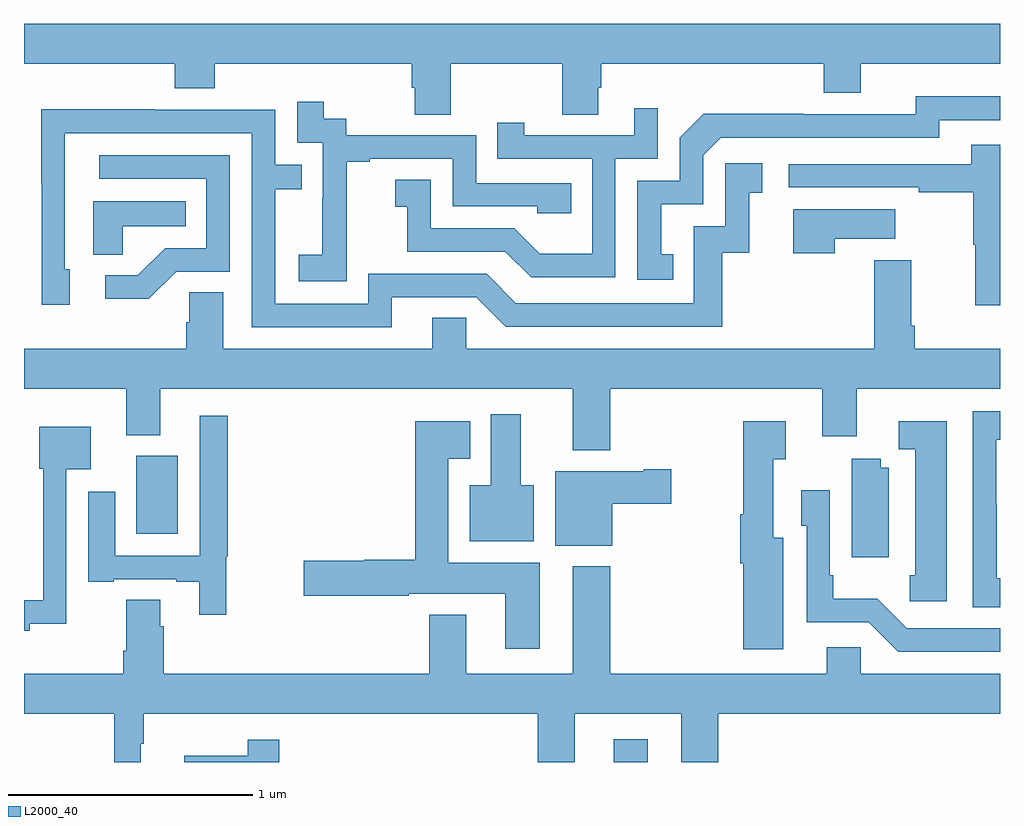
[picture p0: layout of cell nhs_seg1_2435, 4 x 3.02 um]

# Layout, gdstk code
import gdstk
lib = gdstk.Library(unit=1e-6, precision=1e-09)
def R(c, l, rs):  # rectangles x0, y0, x1, y1
    for r in rs: c.add(gdstk.rectangle(r[:2], r[2:], *l))
def P(c, l, *ps):  # polygons
    for p in ps: c.add(gdstk.Polygon(p, *l))
L2000_40 = (2000, 40)

nhs_seg1_2435 = lib.new_cell('nhs_seg1_2435')
R(nhs_seg1_2435, L2000_40, [(245.417,554.199,245.557,554.293), (243.461,555.134,243.631,555.454)])
P(nhs_seg1_2435, L2000_40, [(244.749,557.06),(245.206,557.06),(245.206,556.852),(245.353,556.852),(245.353,556.962),(245.366,556.962),(245.366,557.06),(246.278,557.06),(246.278,556.943),(246.43,556.943),(246.43,557.06),(247,557.06),(247,557.224),(243,557.224),(243,557.06),(243.617,557.06),(243.617,556.961),(243.782,556.961),(243.782,557.06),(244.589,557.06),(244.589,556.962),(244.601,556.962),(244.601,556.852),(244.749,556.852)],
  [(245.66,556.281),(245.611,556.281),(245.611,556.485),(245.784,556.485),(245.784,556.686),(245.856,556.758),(246.75,556.758),(246.75,556.83),(247,556.83),(247,556.927),(246.654,556.927),(246.654,556.854),(246.194,556.854),(246.194,556.856),(245.786,556.856),(245.688,556.758),(245.688,556.581),(245.514,556.581),(245.514,556.176),(245.66,556.176)],
  [(244.323,556.375),(244.322,556.375),(244.322,556.659),(244.417,556.659),(244.417,556.671),(244.758,556.671),(244.758,556.476),(245.103,556.476),(245.103,556.449),(245.243,556.449),(245.243,556.572),(244.854,556.572),(244.854,556.767),(244.32,556.767),(244.32,556.836),(244.228,556.836),(244.228,556.906),(244.119,556.906),(244.119,556.737),(244.224,556.737),(244.224,556.508),(244.223,556.508),(244.223,556.279),(244.125,556.279),(244.125,556.169),(244.323,556.169)],
  [(245.424,556.671),(245.598,556.671),(245.598,556.879),(245.501,556.879),(245.501,556.767),(245.05,556.767),(245.05,556.819),(244.939,556.819),(244.939,556.671),(245.328,556.671),(245.328,556.282),(245.114,556.282),(245.01,556.386),(244.668,556.386),(244.668,556.585),(244.521,556.585),(244.521,556.475),(244.57,556.475),(244.57,556.29),(244.973,556.29),(245.078,556.185),(245.424,556.185)],
  [(244.507,556.104),(244.854,556.104),(244.974,555.984),(245.861,555.984),(245.861,556.287),(245.972,556.287),(245.972,556.533),(246.025,556.533),(246.025,556.654),(245.874,556.654),(245.874,556.395),(245.745,556.395),(245.745,556.08),(245.016,556.08),(244.896,556.2),(244.41,556.2),(244.41,556.077),(244.029,556.077),(244.029,556.546),(244.139,556.546),(244.139,556.647),(244.029,556.647),(244.029,556.872),(243.533,556.872),(243.533,556.874),(243.07,556.874),(243.07,556.567),(243.072,556.567),(243.072,556.074),(243.187,556.074),(243.187,556.218),(243.168,556.218),(243.168,556.776),(243.933,556.776),(243.933,555.981),(244.507,555.981)],
  [(247,556.729),(246.883,556.729),(246.883,556.65),(246.135,556.65),(246.135,556.554),(246.667,556.554),(246.667,556.534),(246.891,556.534),(246.891,556.32),(246.898,556.32),(246.898,556.071),(247,556.071)],
  [(243.624,556.209),(243.843,556.209),(243.843,556.686),(243.309,556.686),(243.309,556.59),(243.747,556.59),(243.747,556.305),(243.578,556.305),(243.467,556.194),(243.333,556.194),(243.333,556.097),(243.511,556.097)],
  [(243.405,556.394),(243.662,556.394),(243.662,556.498),(243.284,556.498),(243.284,556.279),(243.405,556.279)],
  [(246.323,556.343),(246.571,556.343),(246.571,556.465),(246.152,556.465),(246.152,556.284),(246.323,556.284)],
  [(244.812,556.019),(244.673,556.019),(244.673,555.892),(243.817,555.892),(243.817,556.124),(243.678,556.124),(243.678,556.001),(243.665,556.001),(243.665,555.892),(243,555.892),(243,555.728),(243.419,555.728),(243.419,555.539),(243.559,555.539),(243.559,555.728),(245.249,555.728),(245.249,555.476),(245.402,555.476),(245.402,555.728),(246.272,555.728),(246.272,555.534),(246.412,555.534),(246.412,555.728),(247,555.728),(247,555.892),(246.65,555.892),(246.65,555.988),(246.637,555.988),(246.637,556.255),(246.485,556.255),(246.485,555.892),(244.812,555.892)],
  [(247,554.953),(246.987,554.953),(246.987,555.257),(246.985,555.257),(246.985,555.52),(247,555.52),(247,555.636),(246.888,555.636),(246.888,554.833),(247,554.833)],
  [(245.089,555.334),(245.035,555.334),(245.035,555.625),(244.913,555.625),(244.913,555.334),(244.826,555.334),(244.826,555.104),(245.089,555.104)],
  [(243.829,555.042),(243.836,555.042),(243.836,555.619),(243.72,555.619),(243.72,555.045),(243.373,555.045),(243.373,555.307),(243.263,555.307),(243.263,554.937),(243.367,554.937),(243.367,554.949),(243.623,554.949),(243.623,554.937),(243.719,554.937),(243.719,554.802),(243.829,554.802)],
  [(246.781,555.595),(246.585,555.595),(246.585,555.48),(246.653,555.48),(246.653,554.964),(246.631,554.964),(246.631,554.859),(246.781,554.859)],
  [(246.112,555.118),(246.07,555.118),(246.07,555.439),(246.121,555.439),(246.121,555.595),(245.948,555.595),(245.948,555.214),(245.936,555.214),(245.936,555.014),(245.948,555.014),(245.948,554.661),(246.112,554.661)],
  [(245.113,555.016),(244.738,555.016),(244.738,555.443),(244.828,555.443),(244.828,555.595),(244.604,555.595),(244.604,555.029),(244.395,555.029),(244.395,555.023),(244.146,555.023),(244.146,554.881),(244.577,554.881),(244.577,554.888),(244.973,554.888),(244.973,554.664),(245.113,554.664)],
  [(243.024,554.765),(243.174,554.765),(243.174,555.398),(243.274,555.398),(243.274,555.574),(243.062,555.574),(243.062,555.402),(243.078,555.402),(243.078,554.862),(243,554.862),(243,554.738),(243.024,554.738)],
  [(246.544,555.406),(246.512,555.406),(246.512,555.443),(246.392,555.443),(246.392,555.039),(246.544,555.039)],
  [(245.41,555.257),(245.653,555.257),(245.653,555.399),(245.54,555.399),(245.54,555.391),(245.177,555.391),(245.177,555.086),(245.41,555.086)],
  [(247,554.748),(246.618,554.748),(246.497,554.869),(246.316,554.869),(246.316,554.965),(246.303,554.965),(246.303,555.313),(246.186,555.313),(246.186,555.168),(246.207,555.168),(246.207,554.772),(246.462,554.772),(246.582,554.652),(247,554.652)],
  [(243.478,554.273),(243.49,554.273),(243.49,554.396),(245.105,554.396),(245.105,554.199),(245.257,554.199),(245.257,554.396),(245.693,554.396),(245.693,554.199),(245.846,554.199),(245.846,554.396),(247,554.396),(247,554.56),(246.429,554.56),(246.429,554.67),(246.29,554.67),(246.29,554.56),(245.402,554.56),(245.402,555.001),(245.249,555.001),(245.249,554.56),(244.813,554.56),(244.813,554.803),(244.661,554.803),(244.661,554.56),(243.572,554.56),(243.572,554.756),(243.559,554.756),(243.559,554.864),(243.419,554.864),(243.419,554.656),(243.407,554.656),(243.407,554.56),(243,554.56),(243,554.396),(243.369,554.396),(243.369,554.199),(243.478,554.199)],
  [(244.046,554.29),(243.918,554.29),(243.918,554.224),(243.656,554.224),(243.656,554.199),(244.046,554.199)])

lib.write_gds('nhs_seg1_2435.gds')
